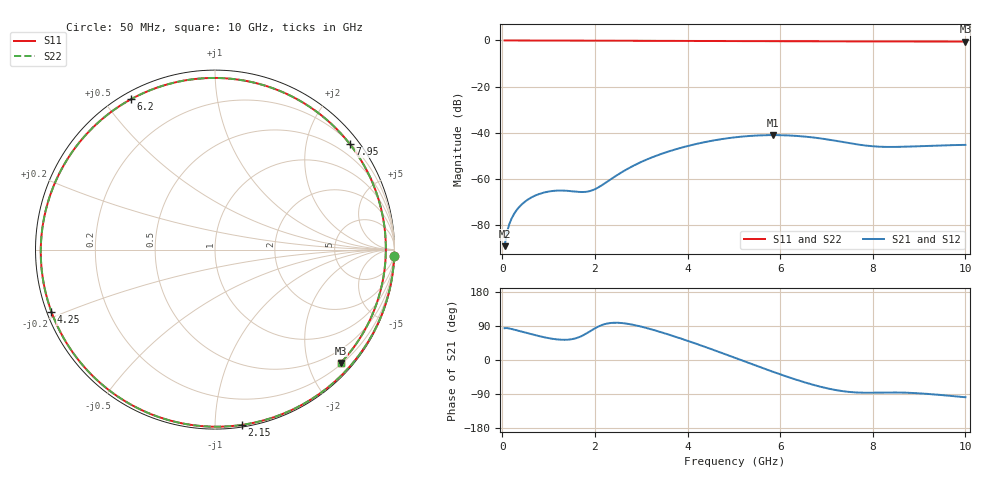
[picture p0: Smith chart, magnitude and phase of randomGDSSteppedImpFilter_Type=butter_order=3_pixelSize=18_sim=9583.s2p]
! freq	dB(S11)	phase(S11)	dB(S12)	phase(S12)
!  dB(S21)	phase(S21)	dB(S22)	phase(S22)
!S-par simulation data
#  GHz  S  DB  R 50
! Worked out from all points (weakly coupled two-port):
!   200 points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, 50 MHz to 10 GHz, reference 50 ohm
!   highest |S21| = -41.06 dB at 5.85 GHz (marker M1); lowest = -89.2 dB at 50 MHz (marker M2)
!   lowest |S11| = -0.5 dB at 10 GHz (marker M3), VSWR 34.19, Z = 11.3 - j129 ohm
!   |S11| at or under -10 dB: nowhere
!   |S22| runs from -0.5 to 0.0 dB; largest |S21 - S12| = 0
!   S11 on the Smith chart (normalised r, x): 50 MHz: 1, -58; 2.15 GHz: 0.01, -1.17; 4.25 GHz: 0.01, -0.18; 6.2 GHz: 0.03, +0.59; 7.95 GHz: 0.22, +2.89; 10 GHz: 0.23, -2.58
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0.05  -0.01 -2.0  -89.23 84.0  -89.23 84.0  -0.01 -2.0
0.15  -0.01 -5.8  -79.72 83.3  -79.72 83.3  -0.01 -5.8
0.25  -0.01 -9.7  -75.37 80.3  -75.37 80.3  -0.01 -9.7
0.4  -0.02 -15.4  -71.50 75.4  -71.50 75.4  -0.02 -15.4
0.75  -0.03 -28.8  -66.95 64.3  -66.95 64.3  -0.03 -28.8
1.15  -0.05 -44.0  -65.17 54.8  -65.17 54.8  -0.05 -44.0
1.75  -0.08 -66.5  -65.73 65.5  -65.73 65.5  -0.08 -66.4
2.15  -0.10 -81.2  -62.81 92.2  -62.81 92.2  -0.10 -81.2
2.75  -0.13 -103.3  -55.19 94.6  -55.19 94.6  -0.13 -103.3
3.4  -0.17 -127.2  -49.45 74.4  -49.45 74.4  -0.17 -127.2
4.25  -0.22 -159.2  -44.62 40.2  -44.62 40.2  -0.22 -159.2
4.65  -0.25 -174.8  -43.07 22.6  -43.07 22.6  -0.25 -174.8
5.05  -0.28 169.0  -41.96 4.6  -41.96 4.6  -0.28 169.1
5.45  -0.31 152.3  -41.28 -13.6  -41.28 -13.6  -0.31 152.3
5.85  -0.34 134.9  -41.06 -31.3  -41.06 -31.3  -0.34 134.9
6.2  -0.36 119.2  -41.22 -46.1  -41.22 -46.1  -0.36 119.2
6.7  -0.38 96.1  -42.05 -65.0  -42.05 -65.0  -0.38 96.1
7.3  -0.40 67.9  -43.86 -81.3  -43.86 -81.3  -0.40 68.0
7.95  -0.41 38.0  -45.81 -86.4  -45.81 -86.4  -0.41 38.1
8.35  -0.41 20.4  -46.19 -85.8  -46.19 -85.8  -0.42 20.5
9.1  -0.44 -10.1  -45.78 -88.7  -45.78 -88.7  -0.44 -10.0
10  -0.51 -42.1  -45.30 -98.3  -45.30 -98.3  -0.51 -42.0
